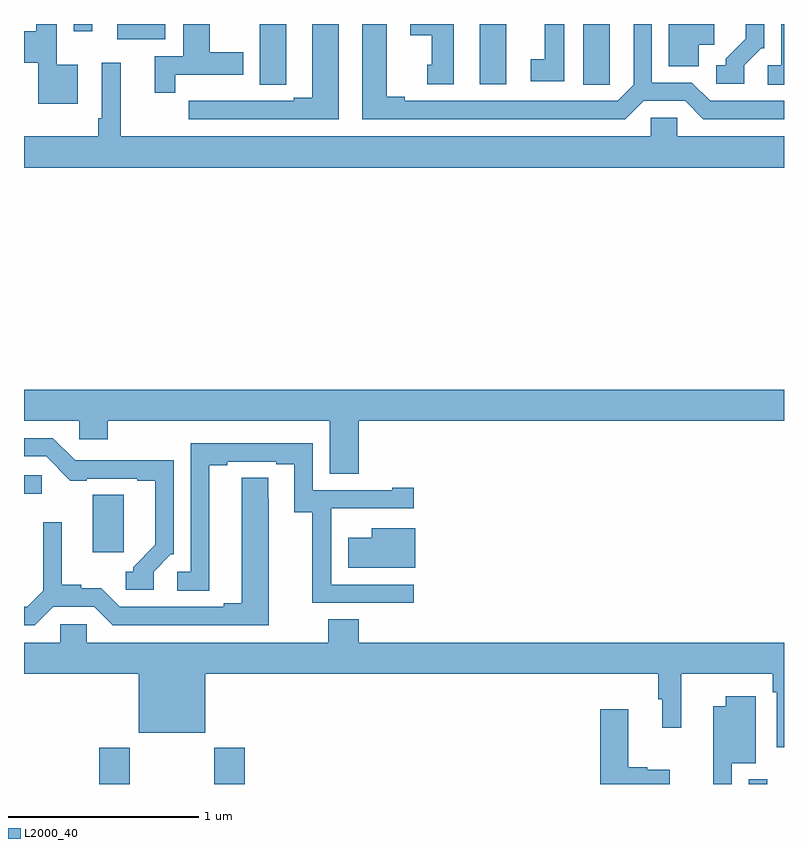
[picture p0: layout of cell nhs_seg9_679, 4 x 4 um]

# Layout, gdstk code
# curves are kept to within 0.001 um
import gdstk
lib = gdstk.Library(unit=1e-6, precision=1e-09)
def R(c, l, rs):  # rectangles x0, y0, x1, y1
    for r in rs: c.add(gdstk.rectangle(r[:2], r[2:], *l))
def P(c, l, *ps):  # polygons
    for p in ps: c.add(gdstk.Polygon(p, *l))
L2000_40 = (2000, 40)

nhs_seg9_679 = lib.new_cell('nhs_seg9_679')
R(nhs_seg9_679, L2000_40, [(145.397,1202.5,145.557,1202.692), (146.002,1202.5,146.162,1202.692), (148.815,1202.5,148.912,1202.524), (145,1204.028,145.093,1204.125), (147.398,1206.183,147.538,1206.5), (145.49,1206.419,145.744,1206.5), (145.263,1206.462,145.36,1206.5)])
P(nhs_seg9_679, L2000_40, [(149,1206.5),(148.986,1206.5),(148.986,1206.282),(148.914,1206.282),(148.914,1206.181),(149,1206.181)],
  [(146.379,1206.289),(146.38,1206.289),(146.38,1206.5),(146.24,1206.5),(146.24,1206.181),(146.379,1206.181)],
  [(145.282,1206.286),(145.173,1206.286),(145.173,1206.5),(145.065,1206.5),(145.065,1206.462),(145,1206.462),(145,1206.296),(145.076,1206.296),(145.076,1206.08),(145.282,1206.08)],
  [(148.261,1206.096),(148.479,1206.096),(148.575,1206),(149,1206),(149,1206.096),(148.611,1206.096),(148.515,1206.192),(148.305,1206.192),(148.305,1206.5),(148.209,1206.5),(148.209,1206.18),(148.125,1206.096),(147.004,1206.096),(147.004,1206.116),(146.908,1206.116),(146.908,1206.5),(146.78,1206.5),(146.78,1206),(148.165,1206)],
  [(148.552,1206.392),(148.633,1206.392),(148.633,1206.5),(148.394,1206.5),(148.394,1206.277),(148.552,1206.277)],
  [(147.262,1206.5),(147.032,1206.5),(147.032,1206.44),(147.146,1206.44),(147.146,1206.285),(147.122,1206.285),(147.122,1206.183),(147.262,1206.183)],
  [(145.796,1206.234),(146.155,1206.234),(146.155,1206.351),(145.978,1206.351),(145.978,1206.5),(145.838,1206.5),(145.838,1206.33),(145.688,1206.33),(145.688,1206.138),(145.796,1206.138)],
  [(148.083,1206.289),(148.084,1206.289),(148.084,1206.5),(147.944,1206.5),(147.944,1206.181),(148.083,1206.181)],
  [(146.656,1206.5),(146.516,1206.5),(146.516,1206.111),(146.42,1206.111),(146.42,1206.096),(146.144,1206.096),(146.144,1206.097),(145.978,1206.097),(145.978,1206.096),(145.866,1206.096),(145.866,1206),(146.656,1206)],
  [(148.791,1206.282),(148.881,1206.372),(148.896,1206.372),(148.896,1206.5),(148.799,1206.5),(148.799,1206.422),(148.694,1206.317),(148.694,1206.282),(148.644,1206.282),(148.644,1206.186),(148.791,1206.186)],
  [(147.844,1206.5),(147.74,1206.5),(147.74,1206.314),(147.666,1206.314),(147.666,1206.198),(147.844,1206.198)],
  [(149,1205.908),(148.437,1205.908),(148.437,1206.006),(148.299,1206.006),(148.299,1205.908),(145.508,1205.908),(145.508,1206.295),(145.41,1206.295),(145.41,1206.004),(145.39,1206.004),(145.39,1205.908),(145,1205.908),(145,1205.744),(149,1205.744)],
  [(146.762,1204.412),(149,1204.412),(149,1204.576),(145,1204.576),(145,1204.412),(145.29,1204.412),(145.29,1204.314),(145.442,1204.314),(145.442,1204.412),(146.609,1204.412),(146.609,1204.132),(146.762,1204.132)],
  [(145.683,1203.618),(145.773,1203.708),(145.788,1203.708),(145.788,1204.205),(145.525,1204.205),(145.525,1204.203),(145.269,1204.203),(145.152,1204.32),(145,1204.32),(145,1204.224),(145.116,1204.224),(145.244,1204.096),(145.33,1204.096),(145.33,1204.107),(145.595,1204.107),(145.595,1204.095),(145.691,1204.095),(145.691,1203.758),(145.575,1203.642),(145.575,1203.618),(145.536,1203.618),(145.536,1203.522),(145.683,1203.522)],
  [(147.052,1203.549),(146.616,1203.549),(146.616,1203.95),(146.618,1203.95),(146.618,1203.951),(147.052,1203.951),(147.052,1204.06),(146.939,1204.06),(146.939,1204.047),(146.52,1204.047),(146.52,1204.293),(145.878,1204.293),(145.878,1203.618),(145.806,1203.618),(145.806,1203.517),(145.975,1203.517),(145.975,1204.177),(146.071,1204.177),(146.071,1204.197),(146.327,1204.197),(146.327,1204.182),(146.423,1204.182),(146.423,1203.931),(146.518,1203.931),(146.518,1203.453),(147.052,1203.453)],
  [(145.153,1203.432),(145.371,1203.432),(145.467,1203.336),(146.287,1203.336),(146.286,1204.112),(146.147,1204.112),(146.147,1203.452),(146.051,1203.452),(146.051,1203.432),(145.503,1203.432),(145.406,1203.53),(145.302,1203.53),(145.302,1203.548),(145.198,1203.548),(145.198,1203.877),(145.101,1203.877),(145.101,1203.516),(145.017,1203.432),(145,1203.432),(145,1203.336),(145.057,1203.336)],
  [(145.525,1204.022),(145.363,1204.022),(145.363,1203.864),(145.361,1203.864),(145.361,1203.72),(145.525,1203.72)],
  [(147.058,1203.847),(146.831,1203.847),(146.831,1203.796),(146.706,1203.796),(146.706,1203.638),(147.058,1203.638)],
  [(149,1203.244),(146.762,1203.244),(146.762,1203.368),(146.602,1203.368),(146.602,1203.244),(145.329,1203.244),(145.329,1203.342),(145.191,1203.342),(145.191,1203.244),(145,1203.244),(145,1203.08),(145.604,1203.08),(145.604,1202.771),(145.954,1202.771),(145.954,1203.08),(148.339,1203.08),(148.339,1202.946),(148.358,1202.946),(148.358,1202.796),(148.458,1202.796),(148.458,1203.08),(148.942,1203.08),(148.942,1202.984),(148.962,1202.984),(148.962,1202.694),(149,1202.694)],
  [(148.725,1202.609),(148.852,1202.609),(148.852,1202.962),(148.694,1202.962),(148.694,1202.908),(148.628,1202.908),(148.628,1202.613),(148.627,1202.613),(148.627,1202.5),(148.725,1202.5)],
  [(148.399,1202.575),(148.281,1202.575),(148.281,1202.588),(148.18,1202.588),(148.18,1202.893),(148.034,1202.893),(148.034,1202.5),(148.399,1202.5)])

lib.write_gds('nhs_seg9_679.gds')
